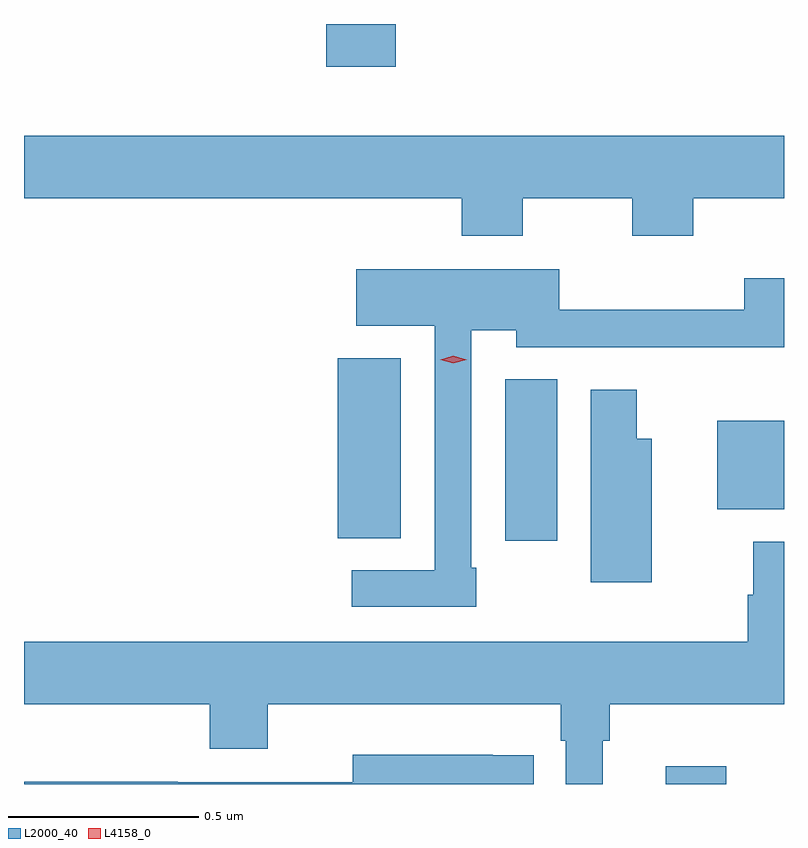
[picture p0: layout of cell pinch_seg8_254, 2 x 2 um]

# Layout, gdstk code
import gdstk
lib = gdstk.Library(unit=1e-6, precision=1e-09)
def R(c, l, rs):  # rectangles x0, y0, x1, y1
    for r in rs: c.add(gdstk.rectangle(r[:2], r[2:], *l))
def P(c, l, *ps):  # polygons
    for p in ps: c.add(gdstk.Polygon(p, *l))
L2000_40 = (2000, 40)
L4158_0 = (4158, 0)

pinch_seg8_254 = lib.new_cell('pinch_seg8_254')
R(pinch_seg8_254, L2000_40, [(768.29,1102.97,768.449,1103.017), (767.867,1103.61,768.004,1104.035), (767.426,1103.617,767.593,1104.091), (768.425,1103.693,768.601,1103.926), (767.396,1104.858,767.579,1104.97)])
P(pinch_seg8_254, L2000_40, [(767.913,1104.512),(768.202,1104.512),(768.202,1104.413),(768.362,1104.413),(768.362,1104.512),(768.601,1104.512),(768.601,1104.676),(766.601,1104.676),(766.601,1104.512),(767.753,1104.512),(767.753,1104.413),(767.913,1104.413)],
  [(767.791,1103.539),(767.778,1103.539),(767.778,1104.164),(767.897,1104.164),(767.897,1104.12),(768.407,1104.12),(768.407,1104.119),(768.601,1104.119),(768.601,1104.301),(768.496,1104.301),(768.496,1104.218),(768.01,1104.218),(768.01,1104.325),(767.475,1104.325),(767.475,1104.176),(767.682,1104.176),(767.682,1103.532),(767.463,1103.532),(767.463,1103.436),(767.791,1103.436)],
  [(768.253,1103.878),(768.214,1103.878),(768.214,1104.007),(768.092,1104.007),(768.092,1103.501),(768.253,1103.501)],
  [(768.124,1103.084),(768.143,1103.084),(768.143,1103.18),(768.601,1103.18),(768.601,1103.608),(768.52,1103.608),(768.52,1103.468),(768.505,1103.468),(768.505,1103.344),(766.601,1103.344),(766.601,1103.18),(767.09,1103.18),(767.09,1103.063),(767.242,1103.063),(767.242,1103.18),(768.014,1103.18),(768.014,1103.084),(768.027,1103.084),(768.027,1102.97),(768.124,1102.97)],
  [(767.942,1103.046),(767.834,1103.046),(767.834,1103.047),(767.466,1103.047),(767.466,1102.974),(767.006,1102.974),(767.006,1102.976),(766.601,1102.976),(766.601,1102.97),(767.942,1102.97)])
P(pinch_seg8_254, L4158_0, [(767.731,1104.077),(767.696,1104.086),(767.696,1104.087),(767.696,1104.087),(767.731,1104.097),(767.766,1104.087),(767.766,1104.087),(767.766,1104.086)])

lib.write_gds('pinch_seg8_254.gds')
